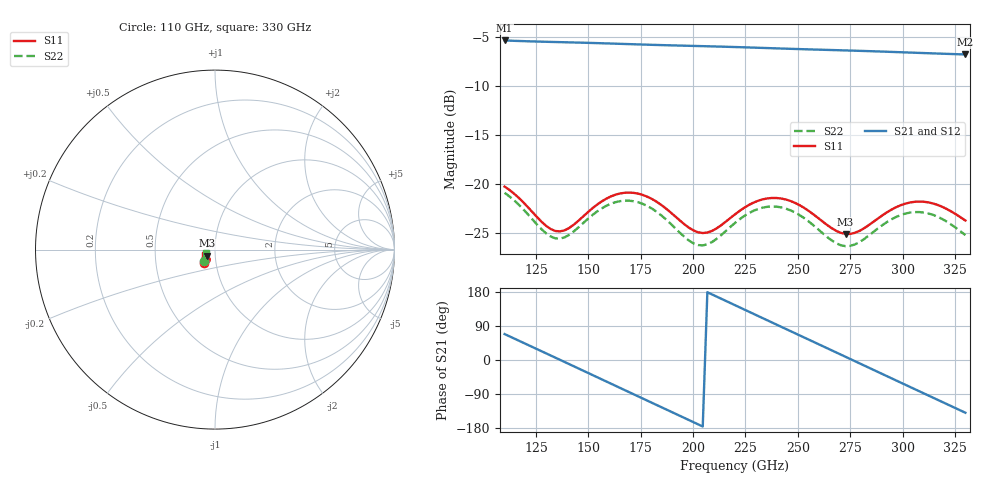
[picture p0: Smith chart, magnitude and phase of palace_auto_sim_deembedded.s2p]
! Created with skrf 1.11.0 (http://scikit-rf.org).
# GHz S DB R 50.0
!freq dBS11 angS11 dBS21 angS21 dBS12 angS12 dBS22 angS22
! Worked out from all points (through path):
!   101 points, 110 GHz to 330 GHz, reference 50 ohm
!   highest |S21| = -5.40 dB at 110 GHz (marker M1); lowest = -6.8 dB at 330 GHz (marker M2)
!   group delay of S21, straight-line fit = 7.17 ps
!   lowest |S11| = -25.1 dB at 272.8 GHz (marker M3), VSWR 1.12, Z = 45.7 - j3.14 ohm
!   |S11| at or under -10 dB: start of sweep to end of sweep
!   |S22| runs from -26.4 to -20.9 dB; largest |S21 - S12| = 8.2e-14
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110  -20.30 -130.8  -5.40 68.4  -5.40 68.4  -20.95 -134.2
121  -22.37 -139.3  -5.48 40.2  -5.48 40.2  -23.10 -142.9
129.8  -24.31 -135.6  -5.53 17.6  -5.53 17.6  -25.07 -139.1
138.6  -24.77 -123.1  -5.58 -5.1  -5.58 -5.1  -25.49 -126.6
147.4  -23.37 -116.0  -5.63 -27.8  -5.63 -27.8  -24.05 -120.2
158.4  -21.55 -120.6  -5.69 -56.3  -5.69 -56.3  -22.28 -125.9
167.2  -20.94 -129.6  -5.75 -79.0  -5.75 -79.0  -21.74 -135.6
176  -21.16 -139.2  -5.81 -101.7  -5.81 -101.7  -22.07 -145.8
184.8  -22.18 -146.4  -5.87 -124.4  -5.87 -124.4  -23.24 -153.3
202.4  -24.97 -140.0  -5.96 -169.8  -5.96 -169.8  -26.27 -145.0
211.2  -24.57 -129.2  -6.01 167.4  -6.01 167.4  -25.64 -133.4
220  -23.13 -125.9  -6.07 144.7  -6.07 144.7  -24.01 -131.1
231  -21.75 -131.9  -6.14 116.2  -6.14 116.2  -22.59 -138.5
239.8  -21.47 -139.9  -6.20 93.5  -6.20 93.5  -22.35 -147.6
248.6  -21.96 -147.5  -6.26 70.8  -6.26 70.8  -22.94 -156.0
257.4  -23.13 -151.7  -6.32 48.1  -6.32 48.1  -24.25 -160.6
272.8  -25.13 -141.9  -6.41 8.4  -6.41 8.4  -26.38 -149.8
283.8  -24.25 -130.8  -6.48 -20.1  -6.48 -20.1  -25.31 -138.7
294.8  -22.64 -131.0  -6.56 -48.5  -6.56 -48.5  -23.63 -140.3
303.6  -21.92 -136.7  -6.63 -71.2  -6.63 -71.2  -22.95 -147.1
312.4  -21.92 -143.6  -6.70 -93.9  -6.70 -93.9  -23.05 -155.0
330  -23.76 -150.1  -6.82 -139.2  -6.82 -139.2  -25.25 -162.1
